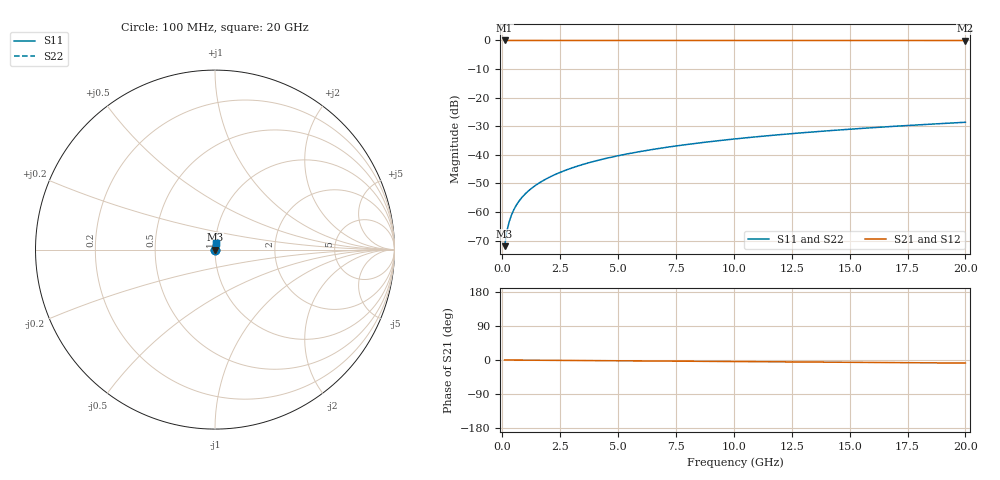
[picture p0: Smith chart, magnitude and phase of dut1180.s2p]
! Touchstone file exported from HFSS 2026.1.0
!  File:  C:/ffzhzh/LocalFiles/Ansys_Project_Files/temp_train_TSV_1180_1783192234_55132.aedt
!  Generated:  03:12:07 AM Jul  5, 2026
!  Design:  TSV
!  Project:  temp_train_TSV_1180_1783192234_55132
! Variables:
!  h_bsmrdl = 2um
!  h_ox = 20um
!  h_rdl = 5um
!  h_sub = 73.51um
!  h_tmrdl = 5um
!  h_tsv = 73.51um
!  h_via = 3um
!  l_bsmrdl = 300um
!  l_sub = 420.06um
!  l_tmrdl = 200um
!  m_sub = 200um
!  pitch = 55.38um
!  r_tsv = 10.03um
!  s_tmrdl = 10um
!  w_bsmrdl = 18um
!  w_sub = 500um
!  w_tmrdl = 12um
!  x_tsv_center1 = 206um
!  x_tsv_center2 = 524um
!  x_tsv_center3 = 736um
!  x_tsv_center4 = 1054um
!  x_tsv_center5 = 1266um
!  x_tsv_center6 = 1584um
# GHz S MA R 50.000000
! Terminal data exported
! Port[1] = TSV1_1_T1
! Port[2] = TSV1_1_T2
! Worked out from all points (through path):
!   200 points, 100 MHz to 20 GHz, reference 50 ohm
!   highest |S21| = 0.00 dB at 100 MHz (marker M1); lowest = 0.0 dB at 20 GHz (marker M2)
!   group delay of S21, straight-line fit = 1.12 ps
!   lowest |S11| = -72.0 dB at 100 MHz (marker M3), VSWR 1.00, Z = 50 + j0.0224 ohm
!   |S11| at or under -10 dB: start of sweep to end of sweep
!   |S22| runs from -72.0 to -28.6 dB; largest |S21 - S12| = 2e-15
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0.1  0.000252 62.5  0.9999 -0.0  0.9999 -0.0  0.000252 62.5
! Gamma 0 0 0 0
! Port Impedance 50 0 50 0
0.2  0.0004625 74.1  0.9999 -0.1  0.9999 -0.1  0.0004625 74.1
0.3  0.0006773 77.8  0.9999 -0.1  0.9999 -0.1  0.0006773 77.8
0.4  0.0008896 79.5  0.9998 -0.2  0.9998 -0.2  0.0008896 79.5
0.5  0.001098 80.4  0.9998 -0.2  0.9998 -0.2  0.001098 80.4
0.6  0.001302 80.9  0.9998 -0.3  0.9998 -0.3  0.001302 80.9
0.7  0.001502 81.3  0.9998 -0.3  0.9998 -0.3  0.001502 81.3
0.8  0.0017 81.6  0.9998 -0.3  0.9998 -0.3  0.0017 81.6
1  0.002088 82.1  0.9997 -0.4  0.9997 -0.4  0.002088 82.1
1.4  0.00285 82.9  0.9997 -0.6  0.9997 -0.6  0.00285 82.9
1.7  0.003418 83.4  0.9996 -0.7  0.9996 -0.7  0.003418 83.4
2  0.003986 83.7  0.9996 -0.8  0.9996 -0.8  0.003986 83.7
2.7  0.005308 84.3  0.9996 -1.1  0.9996 -1.1  0.005308 84.3
3.5  0.006816 84.5  0.9995 -1.4  0.9995 -1.4  0.006816 84.5
4.2  0.00813 84.6  0.9994 -1.7  0.9994 -1.7  0.00813 84.6
5  0.009626 84.5  0.9994 -2.0  0.9994 -2.0  0.009626 84.5
6.8  0.01297 84.2  0.9992 -2.8  0.9992 -2.8  0.01297 84.2
8.3  0.01574 83.9  0.9991 -3.4  0.9991 -3.4  0.01574 83.9
10.1  0.01905 83.4  0.999 -4.1  0.999 -4.1  0.01905 83.4
13.4  0.02509 82.4  0.9987 -5.4  0.9987 -5.4  0.02509 82.4
16.7  0.03109 81.3  0.9985 -6.8  0.9985 -6.8  0.03109 81.3
20  0.03704 80.1  0.9982 -8.1  0.9982 -8.1  0.03704 80.1
